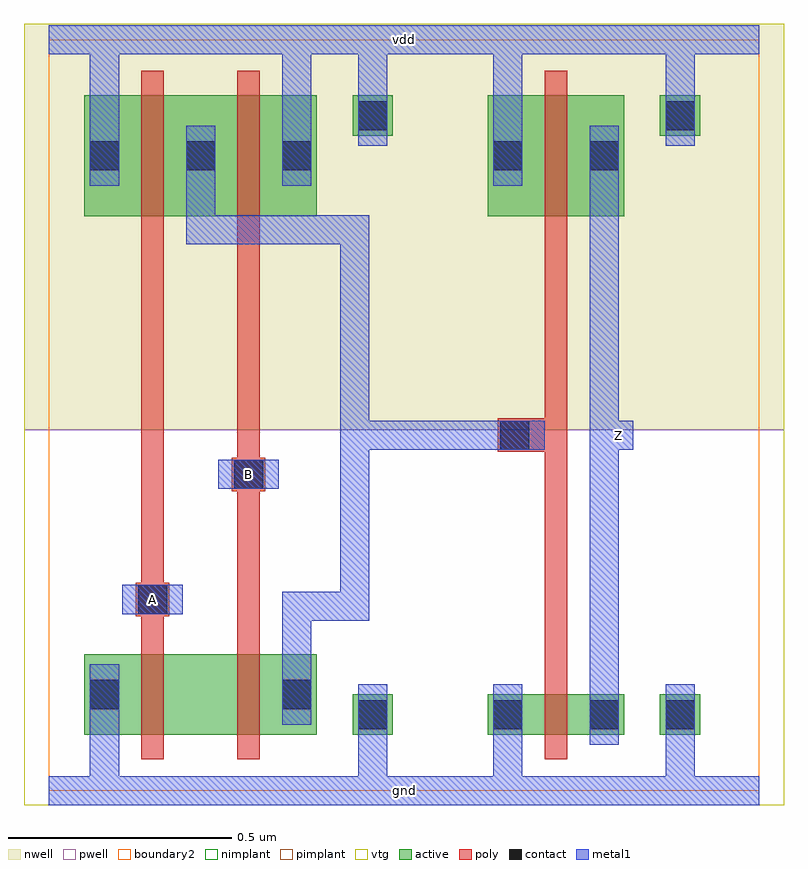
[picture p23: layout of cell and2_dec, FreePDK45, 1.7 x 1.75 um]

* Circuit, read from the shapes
.subckt and2_dec A B Z gnd vdd
M1 pnand2_0/nmos_m1_w0_180_sm1_dactive_2/D A gnd gnd nfet w=0.18u l=0.05u
M2 pinv_1/A B pnand2_0/nmos_m1_w0_180_sm1_dactive_2/D gnd nfet w=0.18u l=0.05u
M3 Z pinv_1/A gnd gnd nfet w=0.09u l=0.05u
M4 pinv_1/A A vdd vdd pfet w=0.27u l=0.05u
M5 vdd B pinv_1/A vdd pfet w=0.27u l=0.05u
M6 Z pinv_1/A vdd vdd pfet w=0.27u l=0.05u
.ends

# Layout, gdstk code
import gdstk
lib = gdstk.Library(unit=1e-6, precision=5e-10)
def R(c, l, rs):  # rectangles x0, y0, x1, y1
    for r in rs: c.add(gdstk.rectangle(r[:2], r[2:], *l))
active = (1, 0)
pwell = (2, 0)
nwell = (3, 0)
nimplant = (4, 0)
pimplant = (5, 0)
vtg = (6, 0)
poly = (9, 0)
contact = (10, 0)
metal1 = (11, 0)
boundary2 = (239, 0)

contact_10 = lib.new_cell('contact_10')
R(contact_10, active, [(0,0.0225,0.09,0.1125)])
R(contact_10, nwell, [(-0.055,-0.0325,0.145,0.1675)])
R(contact_10, pimplant, [(0,0.0225,0.09,0.1125)])
R(contact_10, contact, [(0.0125,0.035,0.0775,0.1)])
R(contact_10, metal1, [(0.0125,0,0.0775,0.135)])
R(contact_10, boundary2, [(-0.055,-0.0325,0.145,0.1675)])

pmos_m1_w0_270_sm1_dm1 = lib.new_cell('pmos_m1_w0_270_sm1_dm1')
R(pmos_m1_w0_270_sm1_dm1, active, [(0,0,0.305,0.27)])
R(pmos_m1_w0_270_sm1_dm1, nwell, [(-0.08,-0.08,0.385,0.35)])
R(pmos_m1_w0_270_sm1_dm1, pimplant, [(0,0,0.305,0.27)])
R(pmos_m1_w0_270_sm1_dm1, vtg, [(-0.08,-0.08,0.385,0.35)])
R(pmos_m1_w0_270_sm1_dm1, poly, [(0.1275,-0.055,0.1775,0.325), (0.1275,-0.055,0.1775,0.325)])
R(pmos_m1_w0_270_sm1_dm1, metal1, [(0.0125,0.0675,0.0775,0.2025), (0.2275,0.0675,0.2925,0.2025)])
R(pmos_m1_w0_270_sm1_dm1, boundary2, [(-0.08,-0.08,0.385,0.35)])
pmos_m1_w0_270_sm1_dm1.add(gdstk.Reference(contact_10, (0,0.0675)))
pmos_m1_w0_270_sm1_dm1.add(gdstk.Reference(contact_10, (0.215,0.0675)))
pmos_m1_w0_270_sm1_dm1.add(gdstk.Label('G', (0.1525,0.135), layer=9, texttype=0))
pmos_m1_w0_270_sm1_dm1.add(gdstk.Label('S', (0.045,0.135), layer=11, texttype=0))
pmos_m1_w0_270_sm1_dm1.add(gdstk.Label('D', (0.26,0.135), layer=11, texttype=0))

contact_9 = lib.new_cell('contact_9')
R(contact_9, active, [(0,0.0225,0.09,0.1125)])
R(contact_9, pwell, [(-0.055,-0.0325,0.145,0.1675)])
R(contact_9, nimplant, [(0,0.0225,0.09,0.1125)])
R(contact_9, contact, [(0.0125,0.035,0.0775,0.1)])
R(contact_9, metal1, [(0.0125,0,0.0775,0.135)])
R(contact_9, boundary2, [(-0.055,-0.0325,0.145,0.1675)])

nmos_m1_w0_180_sm1_dacti = lib.new_cell('nmos_m1_w0_180_sm1_dactive')
R(nmos_m1_w0_180_sm1_dacti, active, [(0,0,0.305,0.18), (0.215,0.045,0.305,0.135)])
R(nmos_m1_w0_180_sm1_dacti, pwell, [(-0.08,-0.08,0.385,0.26)])
R(nmos_m1_w0_180_sm1_dacti, nimplant, [(0,0,0.305,0.18)])
R(nmos_m1_w0_180_sm1_dacti, vtg, [(-0.08,-0.08,0.385,0.26)])
R(nmos_m1_w0_180_sm1_dacti, poly, [(0.1275,-0.055,0.1775,0.235), (0.1275,-0.055,0.1775,0.235)])
R(nmos_m1_w0_180_sm1_dacti, metal1, [(0.0125,0.0225,0.0775,0.1575)])
R(nmos_m1_w0_180_sm1_dacti, boundary2, [(-0.08,-0.08,0.385,0.26)])
nmos_m1_w0_180_sm1_dacti.add(gdstk.Reference(contact_9, (0,0.0225)))
nmos_m1_w0_180_sm1_dacti.add(gdstk.Label('G', (0.1525,0.09), layer=9, texttype=0))
nmos_m1_w0_180_sm1_dacti.add(gdstk.Label('S', (0.045,0.09), layer=11, texttype=0))
nmos_m1_w0_180_sm1_dacti.add(gdstk.Label('D', (0.26,0.09), layer=1, texttype=0))

nmos_m1_w0_180_sactive_d = lib.new_cell('nmos_m1_w0_180_sactive_dm1')
R(nmos_m1_w0_180_sactive_d, active, [(0,0,0.305,0.18), (0,0.045,0.09,0.135)])
R(nmos_m1_w0_180_sactive_d, pwell, [(-0.08,-0.08,0.385,0.26)])
R(nmos_m1_w0_180_sactive_d, nimplant, [(0,0,0.305,0.18)])
R(nmos_m1_w0_180_sactive_d, vtg, [(-0.08,-0.08,0.385,0.26)])
R(nmos_m1_w0_180_sactive_d, poly, [(0.1275,-0.055,0.1775,0.235), (0.1275,-0.055,0.1775,0.235)])
R(nmos_m1_w0_180_sactive_d, metal1, [(0.2275,0.0225,0.2925,0.1575)])
R(nmos_m1_w0_180_sactive_d, boundary2, [(-0.08,-0.08,0.385,0.26)])
nmos_m1_w0_180_sactive_d.add(gdstk.Reference(contact_9, (0.215,0.0225)))
nmos_m1_w0_180_sactive_d.add(gdstk.Label('G', (0.1525,0.09), layer=9, texttype=0))
nmos_m1_w0_180_sactive_d.add(gdstk.Label('S', (0.045,0.09), layer=1, texttype=0))
nmos_m1_w0_180_sactive_d.add(gdstk.Label('D', (0.26,0.09), layer=11, texttype=0))

contact_11 = lib.new_cell('contact_11')
R(contact_11, active, [(0,0.0225,0.09,0.1125)])
R(contact_11, nwell, [(-0.055,-0.0325,0.145,0.1675)])
R(contact_11, nimplant, [(0,0.0225,0.09,0.1125)])
R(contact_11, contact, [(0.0125,0.035,0.0775,0.1)])
R(contact_11, metal1, [(0.0125,0,0.0775,0.135)])
R(contact_11, boundary2, [(-0.055,-0.0325,0.145,0.1675)])

contact_12 = lib.new_cell('contact_12')
R(contact_12, active, [(0,0.0225,0.09,0.1125)])
R(contact_12, pwell, [(-0.055,-0.0325,0.145,0.1675)])
R(contact_12, pimplant, [(0,0.0225,0.09,0.1125)])
R(contact_12, contact, [(0.0125,0.035,0.0775,0.1)])
R(contact_12, metal1, [(0.0125,0,0.0775,0.135)])
R(contact_12, boundary2, [(-0.055,-0.0325,0.145,0.1675)])

contact_13 = lib.new_cell('contact_13')
R(contact_13, poly, [(0.03,0,0.105,0.075)])
R(contact_13, contact, [(0.035,0.005,0.1,0.07)])
R(contact_13, metal1, [(0,0.005,0.135,0.07)])
R(contact_13, boundary2, [(0,0,0.135,0.075)])

pnand2 = lib.new_cell('pnand2')
R(pnand2, pwell, [(-0.055,-0.0325,0.9575,0.8075)])
R(pnand2, nwell, [(-0.055,0.8075,0.9575,1.715)])
R(pnand2, vtg, [(-0.055,-0.0325,0.9575,0.8075), (-0.055,0.8075,0.9575,1.715)])
R(pnand2, poly, [(0.2075,0.36,0.2575,1.23), (0.4225,0.36,0.4725,1.23), (0.2075,0.39,0.2325,0.465), (0.4225,0.67,0.4475,0.745)])
R(pnand2, metal1, [(0,-0.0325,0.9025,0.0325), (0.0925,-0.0325,0.1575,0.1475), (0.6925,0,0.7575,0.17), (0.5225,0.2825,0.5875,0.4125), (0.5225,0.38,0.5875,0.445), (0.555,0.38,0.685,0.445), (0.6525,0.38,0.7175,0.445), (0.165,0.395,0.3,0.46), (0.6525,0.4125,0.7175,1.255), (0.38,0.675,0.515,0.74), (0.3075,1.2225,0.3725,1.2875), (0.34,1.2225,0.685,1.2875), (0.6525,1.2225,0.7175,1.2875), (0.3075,1.255,0.3725,1.3525), (0.0925,1.3525,0.1575,1.7125), (0.5225,1.3525,0.5875,1.7125), (0.6925,1.51,0.7575,1.68), (0,1.6475,0.9025,1.7125)])
R(pnand2, boundary2, [(0,0,0.9025,1.68), (0,0,0.9025,1.68)])
pnand2.add(gdstk.Reference(pmos_m1_w0_270_sm1_dm1, (0.08,1.285)))
pnand2.add(gdstk.Reference(pmos_m1_w0_270_sm1_dm1, (0.295,1.285)))
pnand2.add(gdstk.Reference(nmos_m1_w0_180_sm1_dacti, (0.08,0.125)))
pnand2.add(gdstk.Reference(nmos_m1_w0_180_sactive_d, (0.295,0.125)))
pnand2.add(gdstk.Reference(contact_11, (0.68,1.4425)))
pnand2.add(gdstk.Reference(contact_12, (0.68,0.1025)))
pnand2.add(gdstk.Reference(contact_13, (0.165,0.39)))
pnand2.add(gdstk.Reference(contact_13, (0.38,0.67)))
pnand2.add(gdstk.Label('Z', (0.685,1.255), layer=11, texttype=0))
pnand2.add(gdstk.Label('gnd', (0.451,0), layer=11, texttype=0))
pnand2.add(gdstk.Label('vdd', (0.451,1.68), layer=11, texttype=0))
pnand2.add(gdstk.Label('A', (0.2325,0.4275), layer=11, texttype=0))
pnand2.add(gdstk.Label('B', (0.4475,0.7075), layer=11, texttype=0))

pmos_m1_w0_270_sm1_dm1_d = lib.new_cell('pmos_m1_w0_270_sm1_dm1_da_p')
R(pmos_m1_w0_270_sm1_dm1_d, active, [(0,0,0.305,0.27)])
R(pmos_m1_w0_270_sm1_dm1_d, nwell, [(-0.08,-0.08,0.385,0.35)])
R(pmos_m1_w0_270_sm1_dm1_d, pimplant, [(0,0,0.305,0.27)])
R(pmos_m1_w0_270_sm1_dm1_d, vtg, [(-0.08,-0.08,0.385,0.35)])
R(pmos_m1_w0_270_sm1_dm1_d, poly, [(0.1275,-0.055,0.1775,0.325), (0.1275,-0.055,0.1775,0.325)])
R(pmos_m1_w0_270_sm1_dm1_d, metal1, [(0.0125,0.0675,0.0775,0.2025), (0.2275,0.0675,0.2925,0.2025)])
R(pmos_m1_w0_270_sm1_dm1_d, boundary2, [(-0.08,-0.08,0.385,0.35)])
pmos_m1_w0_270_sm1_dm1_d.add(gdstk.Reference(contact_10, (0,0.0675)))
pmos_m1_w0_270_sm1_dm1_d.add(gdstk.Reference(contact_10, (0.215,0.0675)))
pmos_m1_w0_270_sm1_dm1_d.add(gdstk.Label('G', (0.1525,0.135), layer=9, texttype=0))
pmos_m1_w0_270_sm1_dm1_d.add(gdstk.Label('S', (0.045,0.135), layer=11, texttype=0))
pmos_m1_w0_270_sm1_dm1_d.add(gdstk.Label('D', (0.26,0.135), layer=11, texttype=0))

nmos_m1_w0_090_sm1_dm1_d = lib.new_cell('nmos_m1_w0_090_sm1_dm1_da_p')
R(nmos_m1_w0_090_sm1_dm1_d, active, [(0,0,0.305,0.09)])
R(nmos_m1_w0_090_sm1_dm1_d, pwell, [(-0.08,-0.08,0.385,0.17)])
R(nmos_m1_w0_090_sm1_dm1_d, nimplant, [(0,0,0.305,0.09)])
R(nmos_m1_w0_090_sm1_dm1_d, vtg, [(-0.08,-0.08,0.385,0.17)])
R(nmos_m1_w0_090_sm1_dm1_d, poly, [(0.1275,-0.055,0.1775,0.145), (0.1275,-0.055,0.1775,0.145)])
R(nmos_m1_w0_090_sm1_dm1_d, metal1, [(0.0125,-0.0225,0.0775,0.1125), (0.2275,-0.0225,0.2925,0.1125)])
R(nmos_m1_w0_090_sm1_dm1_d, boundary2, [(-0.08,-0.08,0.385,0.17)])
nmos_m1_w0_090_sm1_dm1_d.add(gdstk.Reference(contact_9, (0,-0.0225)))
nmos_m1_w0_090_sm1_dm1_d.add(gdstk.Reference(contact_9, (0.215,-0.0225)))
nmos_m1_w0_090_sm1_dm1_d.add(gdstk.Label('G', (0.1525,0.045), layer=9, texttype=0))
nmos_m1_w0_090_sm1_dm1_d.add(gdstk.Label('S', (0.045,0.045), layer=11, texttype=0))
nmos_m1_w0_090_sm1_dm1_d.add(gdstk.Label('D', (0.26,0.045), layer=11, texttype=0))

pinv = lib.new_cell('pinv')
R(pinv, pwell, [(-0.055,-0.0325,0.7425,0.8075)])
R(pinv, nwell, [(-0.055,0.8075,0.7425,1.715)])
R(pinv, vtg, [(-0.055,-0.0325,0.7425,0.8075), (-0.055,0.8075,0.7425,1.715)])
R(pinv, poly, [(0.2075,0.27,0.2575,1.23), (0.14,0.7575,0.2075,0.8325)])
R(pinv, metal1, [(0,-0.0325,0.6875,0.0325), (0.0925,-0.0325,0.1575,0.1025), (0.4775,0,0.5425,0.17), (0.3075,0.1025,0.3725,1.4875), (0.0725,0.7625,0.2075,0.8275), (0.34,0.7625,0.405,0.8275), (0.0925,1.3525,0.1575,1.7125), (0.4775,1.51,0.5425,1.68), (0,1.6475,0.6875,1.7125)])
R(pinv, boundary2, [(0,0,0.6875,1.68), (0,0,0.6875,1.68)])
pinv.add(gdstk.Reference(pmos_m1_w0_270_sm1_dm1_d, (0.08,1.285)))
pinv.add(gdstk.Reference(nmos_m1_w0_090_sm1_dm1_d, (0.08,0.125)))
pinv.add(gdstk.Reference(contact_11, (0.465,1.4425)))
pinv.add(gdstk.Reference(contact_12, (0.465,0.1025)))
pinv.add(gdstk.Reference(contact_13, (0.0725,0.7575)))
pinv.add(gdstk.Label('A', (0.14,0.795), layer=11, texttype=0))
pinv.add(gdstk.Label('Z', (0.3725,0.795), layer=11, texttype=0))
pinv.add(gdstk.Label('gnd', (0.344,0), layer=11, texttype=0))
pinv.add(gdstk.Label('vdd', (0.344,1.68), layer=11, texttype=0))

and2_dec = lib.new_cell('and2_dec')
R(and2_dec, metal1, [(0,-0.0325,1.59,0.0325), (0.165,0.395,0.3,0.46), (0.38,0.675,0.515,0.74), (0.6525,0.7625,0.7175,0.8275), (0.685,0.7625,1.0425,0.8275), (1.2425,0.7625,1.3075,0.8275), (0.6525,0.795,0.7175,1.255), (0,1.6475,1.59,1.7125)])
R(and2_dec, boundary2, [(0,0,1.59,1.68)])
and2_dec.add(gdstk.Reference(pnand2, (0,0)))
and2_dec.add(gdstk.Reference(pinv, (0.9025,0)))
and2_dec.add(gdstk.Label('Z', (1.275,0.795), layer=11, texttype=0))
and2_dec.add(gdstk.Label('A', (0.2325,0.4275), layer=11, texttype=0))
and2_dec.add(gdstk.Label('B', (0.4475,0.7075), layer=11, texttype=0))
and2_dec.add(gdstk.Label('gnd', (0.795,0), layer=11, texttype=0))
and2_dec.add(gdstk.Label('vdd', (0.795,1.68), layer=11, texttype=0))

lib.write_gds('and2_dec.gds')
